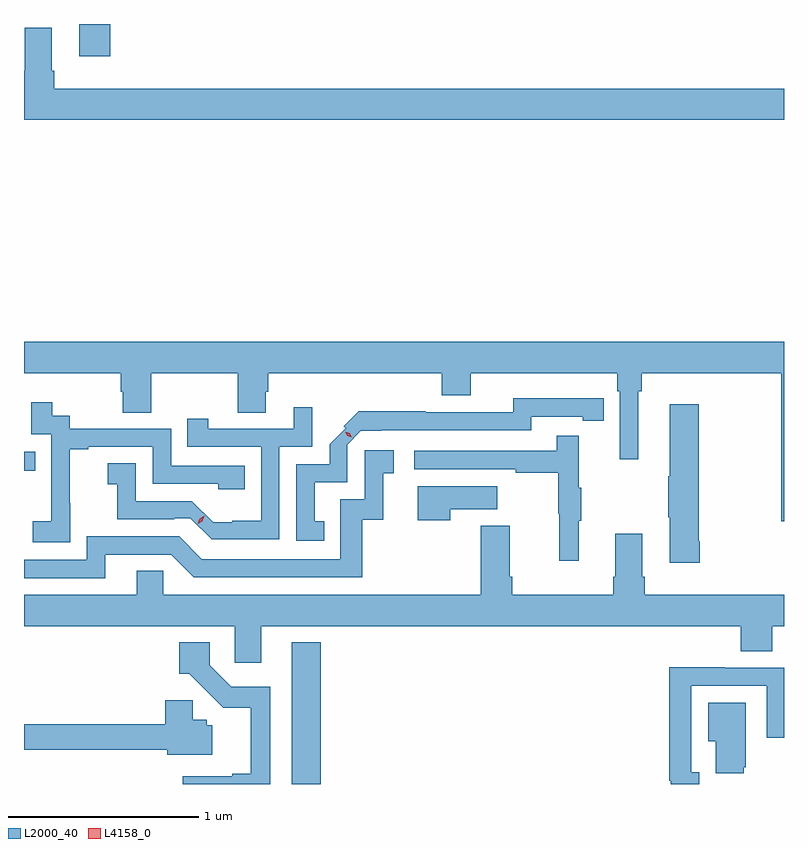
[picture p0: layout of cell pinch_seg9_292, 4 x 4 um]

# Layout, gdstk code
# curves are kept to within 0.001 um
import gdstk
lib = gdstk.Library(unit=1e-6, precision=1e-09)
def R(c, l, rs):  # rectangles x0, y0, x1, y1
    for r in rs: c.add(gdstk.rectangle(r[:2], r[2:], *l))
def P(c, l, *ps):  # polygons
    for p in ps: c.add(gdstk.Polygon(p, *l))
L2000_40 = (2000, 40)
L4158_0 = (4158, 0)

pinch_seg9_292 = lib.new_cell('pinch_seg9_292')
R(pinch_seg9_292, L2000_40, [(509.003,1180.937,509.156,1181.683), (507.594,1182.586,507.653,1182.687), (507.884,1184.766,508.048,1184.937)])
P(pinch_seg9_292, L2000_40, [(511.594,1184.596),(507.752,1184.596),(507.752,1184.692),(507.739,1184.692),(507.739,1184.917),(507.599,1184.917),(507.599,1184.692),(507.594,1184.692),(507.594,1184.432),(511.594,1184.432)],
  [(507.594,1183.1),(508.103,1183.1),(508.103,1183.002),(508.115,1183.002),(508.115,1182.892),(508.263,1182.892),(508.263,1183.1),(508.72,1183.1),(508.72,1182.892),(508.867,1182.892),(508.867,1183.002),(508.88,1183.002),(508.88,1183.1),(509.792,1183.1),(509.792,1182.983),(509.944,1182.983),(509.944,1183.1),(510.716,1183.1),(510.716,1183.004),(510.729,1183.004),(510.729,1182.645),(510.826,1182.645),(510.826,1183.004),(510.845,1183.004),(510.845,1183.1),(511.579,1183.1),(511.579,1182.321),(511.594,1182.321),(511.594,1183.264),(507.594,1183.264)],
  [(509.174,1182.321),(509.125,1182.321),(509.125,1182.525),(509.295,1182.525),(509.295,1182.723),(509.367,1182.795),(509.473,1182.795),(509.473,1182.798),(510.264,1182.798),(510.264,1182.87),(510.536,1182.87),(510.536,1182.85),(510.644,1182.85),(510.644,1182.966),(510.168,1182.967),(510.168,1182.894),(509.708,1182.894),(509.708,1182.898),(509.355,1182.898),(509.277,1182.819),(509.287,1182.809),(509.202,1182.724),(509.202,1182.621),(509.028,1182.621),(509.028,1182.216),(509.174,1182.216)],
  [(507.837,1182.415),(507.836,1182.415),(507.836,1182.699),(507.931,1182.699),(507.931,1182.711),(508.272,1182.711),(508.272,1182.516),(508.617,1182.516),(508.617,1182.488),(508.757,1182.488),(508.757,1182.612),(508.368,1182.612),(508.368,1182.807),(507.834,1182.807),(507.834,1182.876),(507.742,1182.876),(507.742,1182.946),(507.633,1182.946),(507.633,1182.777),(507.738,1182.777),(507.738,1182.548),(507.737,1182.548),(507.737,1182.319),(507.639,1182.319),(507.639,1182.209),(507.837,1182.209)],
  [(511.151,1182.214),(511.146,1182.214),(511.146,1182.937),(510.992,1182.937),(510.992,1182.557),(510.985,1182.557),(510.985,1182.34),(510.992,1182.34),(510.992,1182.102),(511.151,1182.102)],
  [(508.938,1182.711),(509.112,1182.711),(509.112,1182.919),(509.015,1182.919),(509.015,1182.807),(508.564,1182.807),(508.564,1182.859),(508.453,1182.859),(508.453,1182.711),(508.842,1182.711),(508.842,1182.322),(508.69,1182.322),(508.69,1182.315),(508.589,1182.315),(508.478,1182.426),(508.182,1182.426),(508.182,1182.625),(508.035,1182.625),(508.035,1182.515),(508.084,1182.515),(508.084,1182.33),(508.385,1182.33),(508.385,1182.336),(508.47,1182.336),(508.581,1182.225),(508.938,1182.225)],
  [(510.515,1182.323),(510.526,1182.323),(510.526,1182.497),(510.515,1182.497),(510.515,1182.769),(510.397,1182.769),(510.397,1182.69),(509.649,1182.69),(509.649,1182.594),(510.181,1182.594),(510.181,1182.574),(510.405,1182.574),(510.405,1182.36),(510.412,1182.36),(510.412,1182.111),(510.515,1182.111)],
  [(508.021,1182.144),(508.368,1182.144),(508.488,1182.024),(509.375,1182.024),(509.375,1182.327),(509.486,1182.327),(509.486,1182.573),(509.539,1182.573),(509.539,1182.694),(509.388,1182.694),(509.388,1182.435),(509.259,1182.435),(509.259,1182.12),(508.53,1182.12),(508.41,1182.24),(507.924,1182.24),(507.924,1182.117),(507.594,1182.117),(507.594,1182.021),(508.021,1182.021)],
  [(509.837,1182.383),(510.085,1182.383),(510.085,1182.505),(509.666,1182.505),(509.666,1182.324),(509.837,1182.324)],
  [(511.367,1181.635),(511.532,1181.635),(511.532,1181.768),(511.594,1181.768),(511.594,1181.932),(510.86,1181.932),(510.86,1182.028),(510.847,1182.028),(510.847,1182.253),(510.707,1182.253),(510.707,1182.028),(510.695,1182.028),(510.695,1181.932),(510.164,1181.932),(510.164,1182.028),(510.151,1182.028),(510.151,1182.295),(509.999,1182.295),(509.999,1181.932),(508.326,1181.932),(508.326,1182.059),(508.187,1182.059),(508.187,1181.932),(507.594,1181.932),(507.594,1181.768),(508.704,1181.768),(508.704,1181.574),(508.843,1181.574),(508.843,1181.768),(511.367,1181.768)],
  [(508.891,1181.448),(508.686,1181.448),(508.572,1181.562),(508.572,1181.683),(508.412,1181.683),(508.412,1181.516),(508.465,1181.516),(508.643,1181.339),(508.787,1181.339),(508.787,1180.99),(508.691,1180.99),(508.691,1180.977),(508.429,1180.977),(508.429,1180.937),(508.891,1180.937)],
  [(511.147,1180.998),(511.107,1180.998),(511.107,1181.454),(511.503,1181.454),(511.503,1181.181),(511.594,1181.181),(511.594,1181.55),(511.283,1181.55),(511.283,1181.552),(510.991,1181.552),(510.991,1180.954),(510.999,1180.954),(510.999,1180.937),(511.147,1180.937)],
  [(508.585,1181.247),(508.557,1181.247),(508.557,1181.274),(508.481,1181.274),(508.481,1181.379),(508.337,1181.379),(508.337,1181.252),(507.594,1181.252),(507.594,1181.116),(508.349,1181.116),(508.349,1181.09),(508.585,1181.09)],
  [(511.382,1181.025),(511.393,1181.025),(511.393,1181.365),(511.196,1181.365),(511.196,1181.162),(511.235,1181.162),(511.235,1180.994),(511.382,1180.994)])
P(pinch_seg9_292, L4158_0, [(509.319,1182.762),(509.295,1182.77),(509.284,1182.792),(509.284,1182.792),(509.284,1182.792),(509.308,1182.784),(509.319,1182.762),(509.319,1182.762)],
  [(508.508,1182.308),(508.508,1182.308),(508.518,1182.334),(508.542,1182.348),(508.543,1182.348),(508.543,1182.348),(508.533,1182.321),(508.508,1182.308)])

lib.write_gds('pinch_seg9_292.gds')
